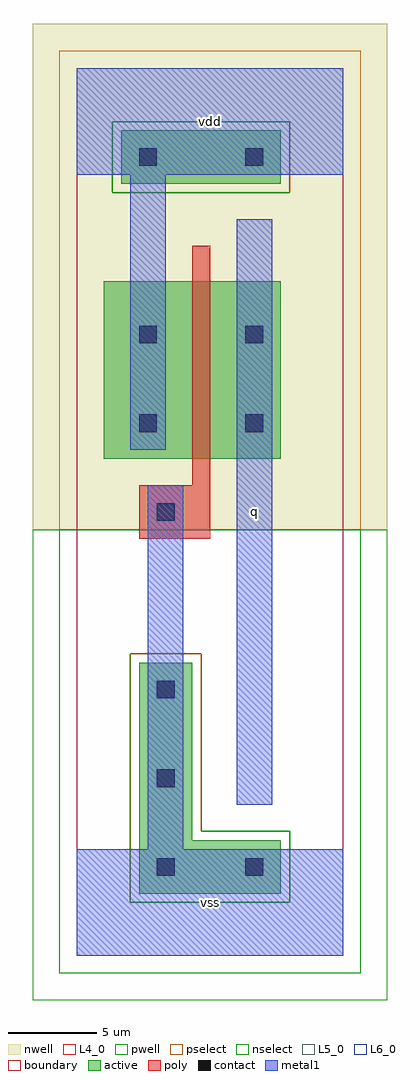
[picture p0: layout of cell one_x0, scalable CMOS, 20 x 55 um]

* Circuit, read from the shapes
.subckt one_x0 q vdd vss
M1 q vss vdd vdd pfet w=10u l=1u
.ends

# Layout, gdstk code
import gdstk
lib = gdstk.Library(unit=1e-6, precision=1e-09)
def R(c, l, rs):  # rectangles x0, y0, x1, y1
    for r in rs: c.add(gdstk.rectangle(r[:2], r[2:], *l))
def A(c, l, x, y, w, h, nx, ny, dx, dy):  # array of equal rectangles
    R(c, l, [(x+i*dx, y+j*dy, x+i*dx+w, y+j*dy+h) for i in range(nx) for j in range(ny)])
L4_0 = (4, 0)
L5_0 = (5, 0)
L6_0 = (6, 0)
contact = (25, 0)
pwell = (41, 0)
nwell = (42, 0)
active = (43, 0)
pselect = (44, 0)
nselect = (45, 0)
poly = (46, 0)
metal1 = (49, 0)
boundary = (63, 0)

one_x0 = lib.new_cell('one_x0')
R(one_x0, L4_0, [(1.5,28,11.5,38)])
R(one_x0, L5_0, [(2.5,43.5,11.5,46.5)])
R(one_x0, L6_0, [(3.5,3.5,11.5,6.5), (3.5,6.5,6.5,16.5)])
A(one_x0, contact, 4.5, 4.5, 1, 1, 1, 3, 0, 5)
R(one_x0, contact, [(9.5,4.5,10.5,5.5), (4.5,24.5,5.5,25.5), (3.5,29.5,4.5,30.5), (9.5,29.5,10.5,30.5), (3.5,34.5,4.5,35.5), (9.5,34.5,10.5,35.5), (3.5,44.5,4.5,45.5), (9.5,44.5,10.5,45.5)])
R(one_x0, pwell, [(-2.5,-2.5,17.5,24)])
R(one_x0, nwell, [(-2.5,24,17.5,52.5)])
R(one_x0, active, [(3.5,3.5,11.5,6.5), (3.5,6.5,6.5,16.5), (1.5,28,11.5,38), (2.5,43.5,11.5,46.5)])
R(one_x0, pselect, [(3,3,12,7), (3,7,7,17), (-1,24,16,43), (-1,43,2,47), (12,43,16,47), (-1,47,16,51)])
R(one_x0, nselect, [(-1,-1,16,3), (-1,3,3,17), (12,3,16,7), (7,7,16,17), (-1,17,16,24), (2,43,12,47)])
R(one_x0, poly, [(3.5,23.5,7.5,26.5), (6.5,26.5,7.5,40)])
R(one_x0, metal1, [(0,0,15,6), (0,0,15,6), (4,6,6,26.5), (4,6,6,26.5), (9,8.5,11,41.5), (9,8.5,11,41.5), (3,28.5,5,44), (3,28.5,5,44), (0,44,15,50), (0,44,15,50)])
R(one_x0, boundary, [(0,0,15,50)])
one_x0.add(gdstk.Label('vss', (7.5,3), layer=49, texttype=0))
one_x0.add(gdstk.Label('vdd', (7.5,47), layer=49, texttype=0))
one_x0.add(gdstk.Label('q', (10,25), layer=49, texttype=0))

lib.write_gds('one_x0.gds')
